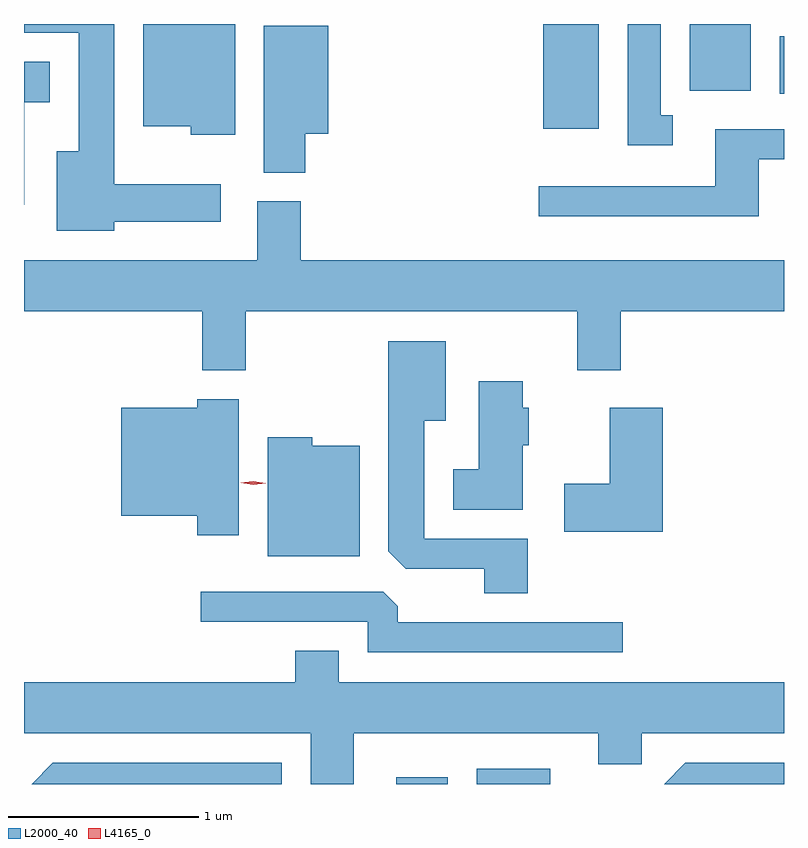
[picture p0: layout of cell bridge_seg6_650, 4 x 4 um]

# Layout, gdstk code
import gdstk
lib = gdstk.Library(unit=1e-6, precision=1e-09)
def R(c, l, rs):  # rectangles x0, y0, x1, y1
    for r in rs: c.add(gdstk.rectangle(r[:2], r[2:], *l))
def P(c, l, *ps):  # polygons
    for p in ps: c.add(gdstk.Polygon(p, *l))
L2000_40 = (2000, 40)
L4165_0 = (4165, 0)

bridge_seg6_650 = lib.new_cell('bridge_seg6_650')
R(bridge_seg6_650, L2000_40, [(257.783,1627.468,258.054,1627.504), (258.206,1627.468,258.593,1627.549), (258.556,1630.916,258.849,1631.468), (259.801,1631.101,259.823,1631.404), (259.326,1631.116,259.649,1631.468)])
P(bridge_seg6_650, L2000_40, [(256.934,1631.468),(256.451,1631.468),(256.451,1630.931),(256.701,1630.931),(256.701,1630.886),(256.934,1630.886)],
  [(259.238,1630.989),(259.174,1630.989),(259.174,1631.468),(259.001,1631.468),(259.001,1630.831),(259.238,1630.831)],
  [(256.299,1630.426),(256.859,1630.426),(256.859,1630.624),(256.299,1630.624),(256.299,1631.468),(255.823,1631.468),(255.823,1631.421),(256.111,1631.421),(256.111,1630.799),(255.996,1630.799),(255.996,1630.381),(256.299,1630.381)],
  [(257.304,1630.891),(257.424,1630.891),(257.424,1631.459),(257.086,1631.459),(257.086,1630.686),(257.304,1630.686)],
  [(255.824,1631.056),(255.959,1631.056),(255.959,1631.269),(255.823,1631.269),(255.823,1630.516),(255.824,1630.516)],
  [(259.689,1630.756),(259.823,1630.756),(259.823,1630.914),(259.461,1630.914),(259.461,1630.614),(258.533,1630.614),(258.533,1630.456),(259.689,1630.456)],
  [(256.989,1629.956),(258.736,1629.956),(258.736,1629.646),(258.964,1629.646),(258.964,1629.956),(259.823,1629.956),(259.823,1630.224),(257.279,1630.224),(257.279,1630.534),(257.051,1630.534),(257.051,1630.224),(255.823,1630.224),(255.823,1629.956),(256.761,1629.956),(256.761,1629.646),(256.989,1629.646)],
  [(258.474,1628.759),(257.929,1628.759),(257.929,1629.381),(258.044,1629.381),(258.044,1629.799),(257.741,1629.799),(257.741,1628.692),(257.832,1628.601),(258.246,1628.601),(258.246,1628.471),(258.474,1628.471)],
  [(258.449,1629.251),(258.479,1629.251),(258.479,1629.449),(258.449,1629.449),(258.449,1629.589),(258.216,1629.589),(258.216,1629.124),(258.081,1629.124),(258.081,1628.911),(258.449,1628.911)],
  [(256.954,1629.494),(256.736,1629.494),(256.736,1629.449),(256.336,1629.449),(256.336,1628.881),(256.736,1628.881),(256.736,1628.776),(256.954,1628.776)],
  [(259.184,1629.449),(258.906,1629.449),(258.906,1629.049),(258.666,1629.049),(258.666,1628.796),(259.184,1628.796)],
  [(257.589,1629.249),(257.339,1629.249),(257.339,1629.294),(257.106,1629.294),(257.106,1628.666),(257.589,1628.666)],
  [(258.973,1628.319),(257.789,1628.319),(257.789,1628.404),(257.714,1628.479),(256.753,1628.479),(256.753,1628.321),(257.631,1628.321),(257.631,1628.161),(258.973,1628.161)],
  [(257.559,1627.736),(258.846,1627.736),(258.846,1627.571),(259.074,1627.571),(259.074,1627.736),(259.823,1627.736),(259.823,1628.004),(257.479,1628.004),(257.479,1628.169),(257.251,1628.169),(257.251,1628.004),(255.823,1628.004),(255.823,1627.736),(257.331,1627.736),(257.331,1627.468),(257.559,1627.468)],
  [(257.179,1627.579),(255.974,1627.579),(255.863,1627.468),(257.179,1627.468)],
  [(259.823,1627.579),(259.304,1627.579),(259.193,1627.468),(259.823,1627.468)])
P(bridge_seg6_650, L4165_0, [(257.03,1629.043),(256.964,1629.053),(256.963,1629.053),(256.964,1629.054),(257.03,1629.062),(257.096,1629.052),(257.096,1629.052),(257.096,1629.051)])

lib.write_gds('bridge_seg6_650.gds')
